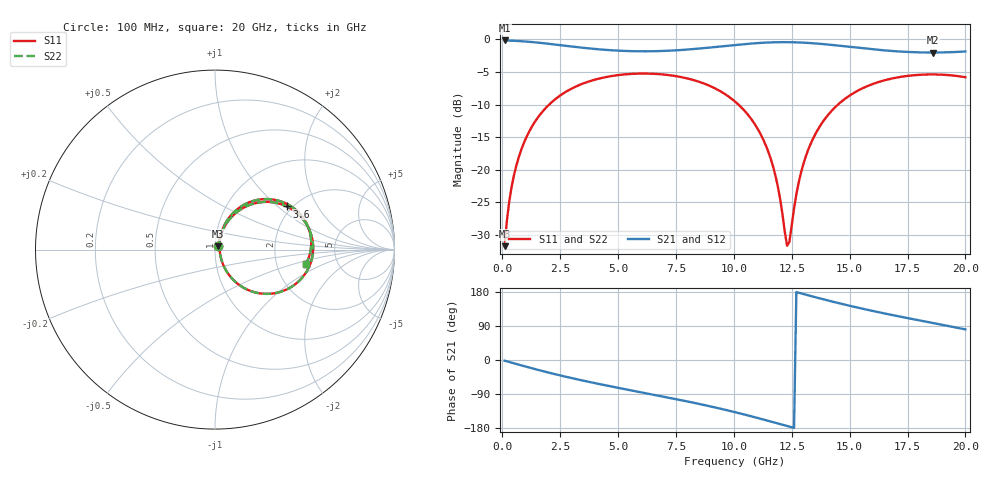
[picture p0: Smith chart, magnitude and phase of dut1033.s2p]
! Touchstone file exported from HFSS 2026.1.0
!  File:  C:/ffzhzh/LocalFiles/Ansys_Project_Files/temp_train_TSV_RDL_1033_1783294488_39728.aedt
!  Generated:  07:46:55 AM Jul  6, 2026
!  Design:  TSV_RDL
!  Project:  temp_train_TSV_RDL_1033_1783294488_39728
! Variables:
!  h_bsmrdl = 5.71um
!  h_ox = 20um
!  h_rdl = 5um
!  h_sub = 62um
!  h_tmrdl = 4.82um
!  h_tsv = 62um
!  h_via = 3um
!  l_bsmrdl = 927.49um
!  l_sub = 4926.88um
!  l_tmrdl = 410.46um
!  m_sub = 200um
!  pitch = 48.53um
!  r_tsv = 11.61um
!  s_tmrdl = 10um
!  w_bsmrdl = 20.54um
!  w_sub = 500um
!  w_tmrdl = 13.65um
!  x_tsv_center1 = 417.285um
!  x_tsv_center2 = 1365.315um
!  x_tsv_center3 = 1789.425um
!  x_tsv_center4 = 2737.455um
!  x_tsv_center5 = 3161.565um
!  x_tsv_center6 = 4109.595um
# GHz S MA R 50.000000
! Terminal data exported
! Port[1] = TM_RDL1_1_T1
! Port[2] = TM_RDL5_1_T1
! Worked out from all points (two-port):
!   200 points, 100 MHz to 20 GHz, reference 50 ohm
!   highest |S21| = -0.16 dB at 100 MHz (marker M1); lowest = -2.0 dB at 18.6 GHz (marker M2)
!   |S21| within 3 dB of the highest: start of sweep to end of sweep
!   lowest |S11| = -31.7 dB at 100 MHz (marker M3), VSWR 1.05, Z = 51.9 + j1.85 ohm
!   |S11| at or under -10 dB: start of sweep to 2.024 GHz; 10.2 GHz to 14.5 GHz (4.299 GHz wide, 34.8 % of centre)
!   |S22| runs from -31.7 to -5.2 dB; largest |S21 - S12| = 1.7e-14
!   S11 on the Smith chart (normalised r, x): 100 MHz: 1.04, +0.04; 3.6 GHz: 1.87, +1.15; 20 GHz: 2.94, -0.65
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0.1  0.02589 43.6  0.9817 -1.8  0.9817 -1.8  0.02589 43.6
! Gamma 0 0 0 0
! Port Impedance 50 0 50 0
0.3  0.05704 64.7  0.9791 -5.3  0.9791 -5.3  0.05704 64.7
0.5  0.08999 68.2  0.9758 -8.7  0.9758 -8.7  0.08999 68.2
1.1  0.1867 64.4  0.9606 -18.9  0.9606 -18.9  0.1867 64.4
2.1  0.3256 51.0  0.9213 -34.8  0.9213 -34.8  0.3256 51.0
3.5  0.4595 32.3  0.8619 -54.6  0.8619 -54.6  0.4595 32.3
3.6  0.4665 31.0  0.8582 -55.9  0.8582 -55.9  0.4665 31.0
5.2  0.5371 11.9  0.8168 -75.8  0.8168 -75.8  0.5371 11.9
6.8  0.541 -6.2  0.8138 -94.7  0.8138 -94.7  0.541 -6.2
8.6  0.4662 -27.4  0.8541 -117.2  0.8541 -117.2  0.4663 -27.4
10.1  0.3279 -46.7  0.9082 -138.4  0.9082 -138.4  0.3279 -46.7
10.9  0.2242 -56.8  0.9341 -150.9  0.9341 -150.9  0.2242 -56.8
11.5  0.1356 -62.0  0.9473 -160.7  0.9473 -160.7  0.1356 -62.0
11.9  0.07437 -59.2  0.9518 -167.4  0.9518 -167.4  0.07435 -59.3
12.3  0.02611 -7.2  0.9526 -174.1  0.9526 -174.1  0.02602 -7.3
12.4  0.02791 25.9  0.9521 -175.8  0.9521 -175.8  0.02781 26.0
12.9  0.09488 68.7  0.9463 175.8  0.9463 175.8  0.09483 68.8
13.4  0.1702 67.7  0.9349 167.6  0.9349 167.6  0.1701 67.8
14.7  0.3392 52.5  0.8888 147.4  0.8888 147.4  0.3392 52.5
16.7  0.4952 27.9  0.8182 120.4  0.8182 120.4  0.4952 27.9
18.6  0.5384 6.5  0.7932 97.6  0.7932 97.6  0.5384 6.5
20  0.5125 -9.1  0.808 80.8  0.808 80.8  0.5125 -9.2
